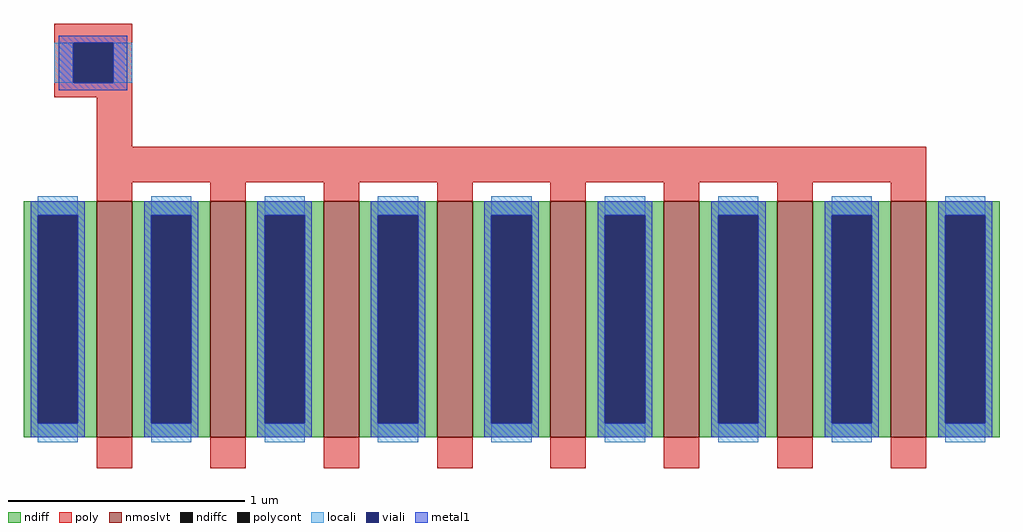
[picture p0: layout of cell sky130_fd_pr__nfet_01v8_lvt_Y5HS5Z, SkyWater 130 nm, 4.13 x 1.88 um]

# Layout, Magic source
magic
tech sky130A
magscale 1 2
<< nmoslvt >>
rect -351 -100 -321 100
rect -255 -100 -225 100
rect -159 -100 -129 100
rect -63 -100 -33 100
rect 33 -100 63 100
rect 129 -100 159 100
rect 225 -100 255 100
rect 321 -100 351 100
<< ndiff >>
rect -413 88 -351 100
rect -413 -88 -401 88
rect -367 -88 -351 88
rect -413 -100 -351 -88
rect -321 88 -255 100
rect -321 -88 -305 88
rect -271 -88 -255 88
rect -321 -100 -255 -88
rect -225 88 -159 100
rect -225 -88 -209 88
rect -175 -88 -159 88
rect -225 -100 -159 -88
rect -129 88 -63 100
rect -129 -88 -113 88
rect -79 -88 -63 88
rect -129 -100 -63 -88
rect -33 88 33 100
rect -33 -88 -17 88
rect 17 -88 33 88
rect -33 -100 33 -88
rect 63 88 129 100
rect 63 -88 79 88
rect 113 -88 129 88
rect 63 -100 129 -88
rect 159 88 225 100
rect 159 -88 175 88
rect 209 -88 225 88
rect 159 -100 225 -88
rect 255 88 321 100
rect 255 -88 271 88
rect 305 -88 321 88
rect 255 -100 321 -88
rect 351 88 413 100
rect 351 -88 367 88
rect 401 -88 413 88
rect 351 -100 413 -88
<< ndiffc >>
rect -401 -88 -367 88
rect -305 -88 -271 88
rect -209 -88 -175 88
rect -113 -88 -79 88
rect -17 -88 17 88
rect 79 -88 113 88
rect 175 -88 209 88
rect 271 -88 305 88
rect 367 -88 401 88
<< poly >>
rect -387 234 -321 250
rect -387 200 -371 234
rect -337 200 -321 234
rect -387 188 -321 200
rect -351 146 -321 188
rect -351 116 351 146
rect -351 100 -321 116
rect -255 100 -225 116
rect -159 100 -129 116
rect -63 100 -33 116
rect 33 100 63 116
rect 129 100 159 116
rect 225 100 255 116
rect 321 100 351 116
rect -351 -126 -321 -100
rect -255 -126 -225 -100
rect -159 -126 -129 -100
rect -63 -126 -33 -100
rect 33 -126 63 -100
rect 129 -126 159 -100
rect 225 -126 255 -100
rect 321 -126 351 -100
<< polycont >>
rect -371 200 -337 234
<< locali >>
rect -387 200 -371 234
rect -337 200 -321 234
rect -401 88 -367 104
rect -401 -104 -367 -88
rect -305 88 -271 104
rect -305 -104 -271 -88
rect -209 88 -175 104
rect -209 -104 -175 -88
rect -113 88 -79 104
rect -113 -104 -79 -88
rect -17 88 17 104
rect -17 -104 17 -88
rect 79 88 113 104
rect 79 -104 113 -88
rect 175 88 209 104
rect 175 -104 209 -88
rect 271 88 305 104
rect 271 -104 305 -88
rect 367 88 401 104
rect 367 -104 401 -88
<< viali >>
rect -371 200 -337 234
rect -401 -88 -367 88
rect -305 -88 -271 88
rect -209 -88 -175 88
rect -113 -88 -79 88
rect -17 -88 17 88
rect 79 -88 113 88
rect 175 -88 209 88
rect 271 -88 305 88
rect 367 -88 401 88
<< metal1 >>
rect -383 234 -325 240
rect -383 200 -371 234
rect -337 200 -325 234
rect -383 194 -325 200
rect -407 88 -361 100
rect -407 -88 -401 88
rect -367 -88 -361 88
rect -407 -100 -361 -88
rect -311 88 -265 100
rect -311 -88 -305 88
rect -271 -88 -265 88
rect -311 -100 -265 -88
rect -215 88 -169 100
rect -215 -88 -209 88
rect -175 -88 -169 88
rect -215 -100 -169 -88
rect -119 88 -73 100
rect -119 -88 -113 88
rect -79 -88 -73 88
rect -119 -100 -73 -88
rect -23 88 23 100
rect -23 -88 -17 88
rect 17 -88 23 88
rect -23 -100 23 -88
rect 73 88 119 100
rect 73 -88 79 88
rect 113 -88 119 88
rect 73 -100 119 -88
rect 169 88 215 100
rect 169 -88 175 88
rect 209 -88 215 88
rect 169 -100 215 -88
rect 265 88 311 100
rect 265 -88 271 88
rect 305 -88 311 88
rect 265 -100 311 -88
rect 361 88 407 100
rect 361 -88 367 88
rect 401 -88 407 88
rect 361 -100 407 -88
<< properties >>
string FIXED_BBOX -498 -257 498 257
string gencell sky130_fd_pr__nfet_01v8_lvt
string library sky130
string parameters w 1.0 l 0.15 m 1 nf 8 diffcov 100 polycov 100 guard 1 glc 1 grc 1 gtc 1 gbc 1 tbcov 100 rlcov 100 topc 1 botc 1 poverlap 0 doverlap 1 lmin 0.15 wmin 0.42 compatible {sky130_fd_pr__nfet_01v8 sky130_fd_pr__nfet_01v8_lvt  sky130_fd_bs_flash__special_sonosfet_star  sky130_fd_pr__nfet_g5v0d10v5 sky130_fd_pr__nfet_05v0_nvt  sky130_fd_pr__nfet_03v3_nvt} full_metal 1 viasrc 100 viadrn 100 viagate 100 viagb 0 viagr 0 viagl 0 viagt 0
<< end >>
